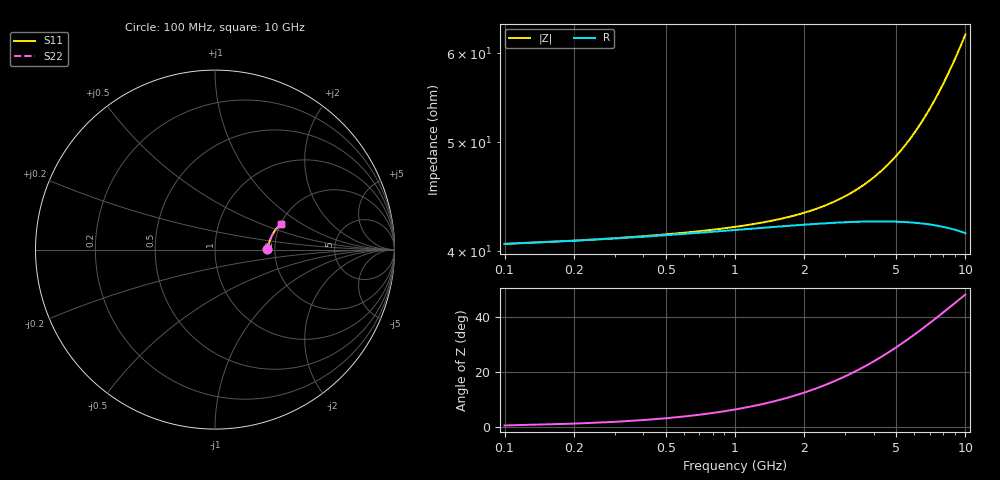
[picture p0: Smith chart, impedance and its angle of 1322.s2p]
# Hz S RI R 50.00
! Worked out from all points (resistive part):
!   100 points, 100 MHz to 10 GHz, reference 50 ohm
!   read as one part in series: R = 40.6 ohm at 100 MHz
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1e8  0.2887 0.00173  0.7113 -0.00296  0.7113 -0.00296  0.2887 0.00173
2e8  0.2901 0.00343  0.7099 -0.0059  0.7099 -0.0059  0.2901 0.00343
3e8  0.2911 0.00513  0.7089 -0.00884  0.7089 -0.00884  0.2911 0.00513
5e8  0.2926 0.0085  0.7074 -0.0147  0.7074 -0.0147  0.2926 0.0085
7e8  0.2938 0.0118  0.7061 -0.0205  0.7061 -0.0205  0.2938 0.0118
1e9  0.2954 0.0168  0.7045 -0.0292  0.7045 -0.0292  0.2954 0.0168
1.8e9  0.2992 0.0299  0.7005 -0.0522  0.7005 -0.0522  0.2992 0.0299
2.2e9  0.3011 0.0364  0.6985 -0.0636  0.6985 -0.0636  0.3011 0.0364
2.6e9  0.3031 0.0428  0.6963 -0.0749  0.6963 -0.0749  0.3031 0.0428
3e9  0.3052 0.0491  0.694 -0.0862  0.694 -0.0862  0.3052 0.0491
3.4e9  0.3074 0.0554  0.6915 -0.0974  0.6915 -0.0974  0.3074 0.0554
3.8e9  0.3098 0.0615  0.6889 -0.1085  0.6889 -0.1085  0.3098 0.0615
4.2e9  0.3124 0.0676  0.686 -0.1195  0.686 -0.1195  0.3124 0.0676
4.6e9  0.3151 0.0736  0.683 -0.1305  0.683 -0.1305  0.3151 0.0736
5.1e9  0.3187 0.0809  0.6789 -0.144  0.6789 -0.144  0.3187 0.0809
5.9e9  0.3251 0.0923  0.6718 -0.1653  0.6718 -0.1653  0.3251 0.0923
6.7e9  0.3321 0.1031  0.6639 -0.1861  0.6639 -0.1861  0.3321 0.1031
7.5e9  0.3397 0.1135  0.6553 -0.2064  0.6553 -0.2064  0.3397 0.1135
7.9e9  0.3437 0.1184  0.6507 -0.2163  0.6507 -0.2163  0.3437 0.1184
8.4e9  0.349 0.1244  0.6447 -0.2285  0.6447 -0.2285  0.349 0.1244
9.2e9  0.3578 0.1334  0.6346 -0.2476  0.6346 -0.2476  0.3578 0.1334
1e10  0.3671 0.1418  0.6239 -0.266  0.6239 -0.266  0.3671 0.1418
